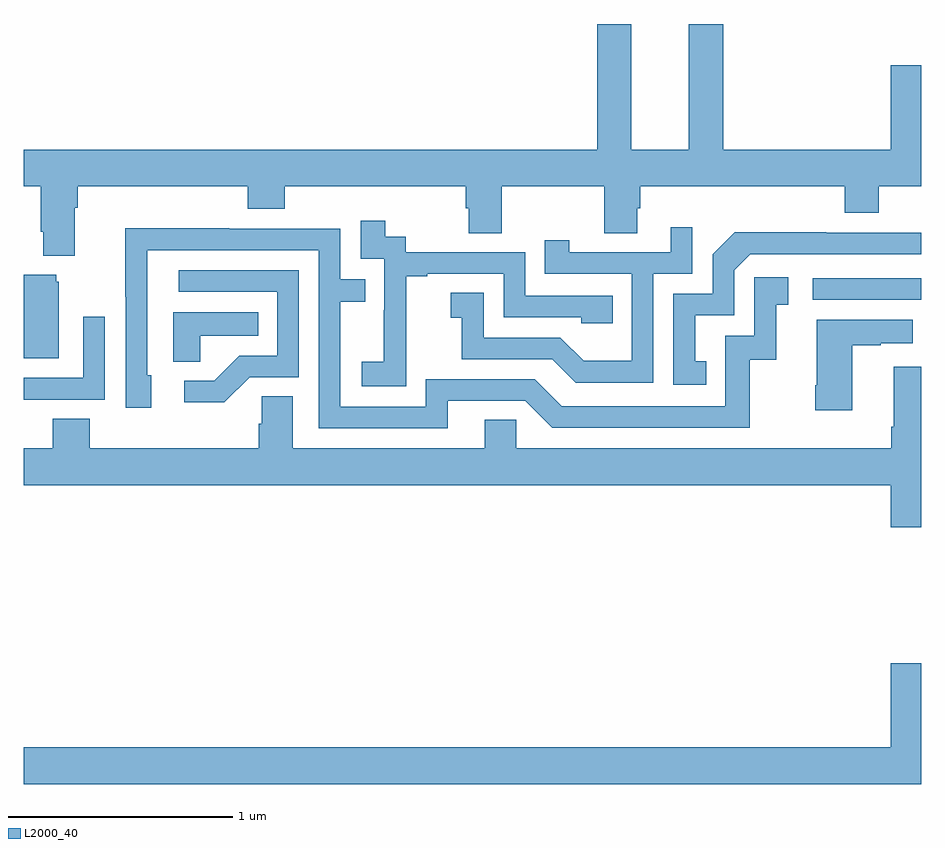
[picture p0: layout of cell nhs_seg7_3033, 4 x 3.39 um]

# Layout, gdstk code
import gdstk
lib = gdstk.Library(unit=1e-6, precision=1e-09)
def R(c, l, rs):  # rectangles x0, y0, x1, y1
    for r in rs: c.add(gdstk.rectangle(r[:2], r[2:], *l))
def P(c, l, *ps):  # polygons
    for p in ps: c.add(gdstk.Polygon(p, *l))
L2000_40 = (2000, 40)

nhs_seg7_3033 = lib.new_cell('nhs_seg7_3033')
R(nhs_seg7_3033, L2000_40, [(308.517,1006.77,309,1006.866)])
P(nhs_seg7_3033, L2000_40, [(305.227,1007.18),(305.24,1007.18),(305.24,1007.276),(305.999,1007.276),(305.999,1007.177),(306.164,1007.177),(306.164,1007.276),(306.971,1007.276),(306.971,1007.178),(306.983,1007.178),(306.983,1007.068),(307.131,1007.068),(307.131,1007.276),(307.588,1007.276),(307.588,1007.068),(307.735,1007.068),(307.735,1007.178),(307.748,1007.178),(307.748,1007.276),(308.66,1007.276),(308.66,1007.159),(308.812,1007.159),(308.812,1007.276),(309,1007.276),(309,1007.815),(308.864,1007.815),(308.864,1007.44),(308.117,1007.44),(308.117,1008),(307.964,1008),(307.964,1007.44),(307.708,1007.44),(307.708,1008),(307.556,1008),(307.556,1007.44),(305,1007.44),(305,1007.276),(305.075,1007.276),(305.075,1007.074),(305.087,1007.074),(305.087,1006.967),(305.227,1006.967)],
  [(306.705,1006.591),(306.704,1006.591),(306.704,1006.875),(306.799,1006.875),(306.799,1006.887),(307.14,1006.887),(307.14,1006.692),(307.485,1006.692),(307.485,1006.665),(307.625,1006.665),(307.625,1006.788),(307.236,1006.788),(307.236,1006.983),(306.702,1006.983),(306.702,1007.052),(306.61,1007.052),(306.61,1007.122),(306.501,1007.122),(306.501,1006.953),(306.606,1006.953),(306.606,1006.724),(306.605,1006.724),(306.605,1006.495),(306.507,1006.495),(306.507,1006.385),(306.705,1006.385)],
  [(307.806,1006.887),(307.98,1006.887),(307.98,1007.095),(307.883,1007.095),(307.883,1006.983),(307.432,1006.983),(307.432,1007.035),(307.321,1007.035),(307.321,1006.887),(307.71,1006.887),(307.71,1006.498),(307.496,1006.498),(307.392,1006.602),(307.05,1006.602),(307.05,1006.801),(306.903,1006.801),(306.903,1006.691),(306.952,1006.691),(306.952,1006.506),(307.355,1006.506),(307.46,1006.401),(307.806,1006.401)],
  [(306.889,1006.32),(307.236,1006.32),(307.356,1006.2),(308.236,1006.2),(308.236,1006.503),(308.354,1006.503),(308.354,1006.749),(308.407,1006.749),(308.407,1006.87),(308.256,1006.87),(308.256,1006.611),(308.127,1006.611),(308.127,1006.296),(307.398,1006.296),(307.278,1006.416),(306.792,1006.416),(306.792,1006.293),(306.411,1006.293),(306.411,1006.762),(306.521,1006.762),(306.521,1006.863),(306.411,1006.863),(306.411,1007.088),(305.915,1007.088),(305.915,1007.09),(305.452,1007.09),(305.452,1006.783),(305.454,1006.783),(305.454,1006.29),(305.569,1006.29),(305.569,1006.434),(305.55,1006.434),(305.55,1006.992),(306.315,1006.992),(306.315,1006.197),(306.889,1006.197)],
  [(308.042,1006.497),(307.993,1006.497),(307.993,1006.701),(308.166,1006.701),(308.166,1006.902),(308.238,1006.974),(309,1006.974),(309,1007.07),(308.576,1007.07),(308.576,1007.072),(308.168,1007.072),(308.07,1006.974),(308.07,1006.797),(307.896,1006.797),(307.896,1006.392),(308.042,1006.392)],
  [(306.006,1006.425),(306.225,1006.425),(306.225,1006.902),(305.691,1006.902),(305.691,1006.806),(306.129,1006.806),(306.129,1006.521),(305.96,1006.521),(305.849,1006.41),(305.715,1006.41),(305.715,1006.313),(305.893,1006.313)],
  [(305.155,1006.851),(305.144,1006.851),(305.144,1006.882),(305,1006.882),(305,1006.511),(305.155,1006.511)],
  [(305.787,1006.61),(306.044,1006.61),(306.044,1006.714),(305.666,1006.714),(305.666,1006.495),(305.787,1006.495)],
  [(305.045,1006.326),(305.361,1006.326),(305.361,1006.696),(305.265,1006.696),(305.265,1006.422),(305,1006.422),(305,1006.325),(305.045,1006.325)],
  [(308.692,1006.567),(308.819,1006.567),(308.819,1006.577),(308.962,1006.577),(308.962,1006.681),(308.534,1006.681),(308.534,1006.39),(308.527,1006.39),(308.527,1006.278),(308.692,1006.278)],
  [(307.055,1006.235),(307.055,1006.108),(306.199,1006.108),(306.199,1006.34),(306.06,1006.34),(306.06,1006.217),(306.047,1006.217),(306.047,1006.108),(305.294,1006.108),(305.294,1006.241),(305.129,1006.241),(305.129,1006.108),(305,1006.108),(305,1005.944),(308.864,1005.944),(308.864,1005.756),(309,1005.756),(309,1006.471),(308.879,1006.471),(308.879,1006.204),(308.867,1006.204),(308.867,1006.108),(307.194,1006.108),(307.194,1006.235)],
  [(309,1005.151),(308.864,1005.151),(308.864,1004.776),(305,1004.776),(305,1004.612),(309,1004.612)])

lib.write_gds('nhs_seg7_3033.gds')
